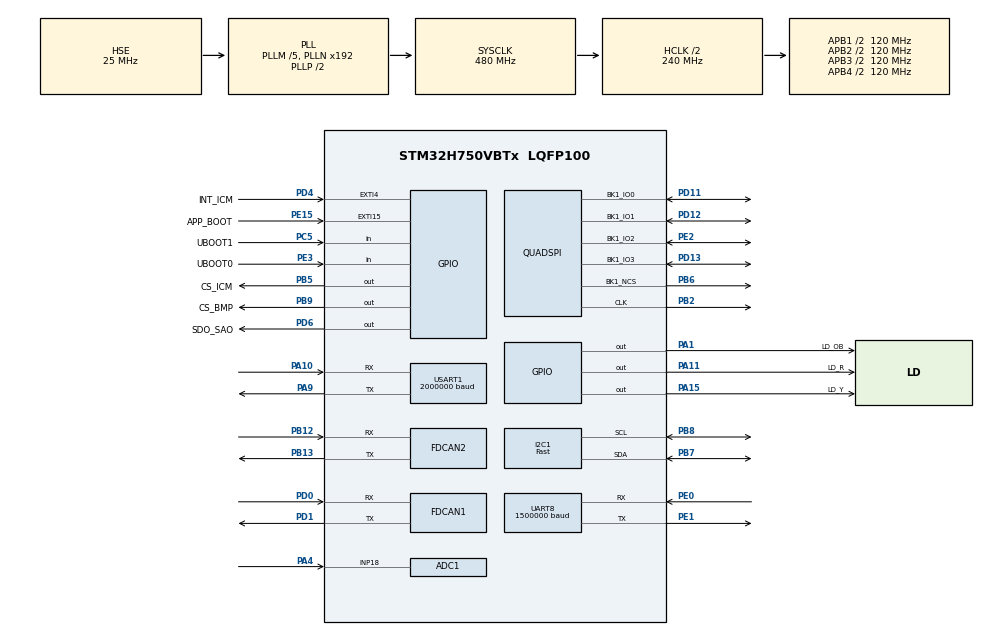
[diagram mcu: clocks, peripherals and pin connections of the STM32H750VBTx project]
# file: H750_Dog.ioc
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ADC1.Channel-1\#ChannelRegularConversion=ADC_CHANNEL_18
ADC1.ClockPrescaler=ADC_CLOCK_ASYNC_DIV4
ADC1.ConversionDataManagement=ADC_CONVERSIONDATA_DMA_ONESHOT
ADC1.EOCSelection=ADC_EOC_SEQ_CONV
ADC1.NbrOfConversionFlag=1
ADC1.OffsetNumber-1\#ChannelRegularConversion=ADC_OFFSET_NONE
ADC1.OffsetSignedSaturation-1\#ChannelRegularConversion=DISABLE
ADC1.Rank-1\#ChannelRegularConversion=1
ADC1.SamplingTime-1\#ChannelRegularConversion=ADC_SAMPLETIME_1CYCLE_5
ADC1.master=1
CORTEX_M7.AccessPermission-Cortex_Memory_Protection_Unit_Region0_Settings=MPU_REGION_FULL_ACCESS
CORTEX_M7.AccessPermission-Cortex_Memory_Protection_Unit_Region1_Settings=MPU_REGION_FULL_ACCESS
CORTEX_M7.AccessPermission-Cortex_Memory_Protection_Unit_Region2_Settings=MPU_REGION_FULL_ACCESS
CORTEX_M7.AccessPermission-Cortex_Memory_Protection_Unit_Region3_Settings=MPU_REGION_FULL_ACCESS
CORTEX_M7.AccessPermission-Cortex_Memory_Protection_Unit_Region4_Settings=MPU_REGION_PRIV_RO_URO
CORTEX_M7.BaseAddress-Cortex_Memory_Protection_Unit_Region0_Settings=0x0
CORTEX_M7.BaseAddress-Cortex_Memory_Protection_Unit_Region1_Settings=0x30000000
CORTEX_M7.BaseAddress-Cortex_Memory_Protection_Unit_Region2_Settings=0x20000000
CORTEX_M7.BaseAddress-Cortex_Memory_Protection_Unit_Region3_Settings=0x24000000
CORTEX_M7.BaseAddress-Cortex_Memory_Protection_Unit_Region4_Settings=0x90000000
CORTEX_M7.CPU_DCache=Enabled
CORTEX_M7.CPU_ICache=Enabled
CORTEX_M7.DisableExec-Cortex_Memory_Protection_Unit_Region2_Settings=MPU_INSTRUCTION_ACCESS_ENABLE
CORTEX_M7.Enable-Cortex_Memory_Protection_Unit_Region0_Settings=MPU_REGION_ENABLE
CORTEX_M7.Enable-Cortex_Memory_Protection_Unit_Region15_Settings=__NULL
CORTEX_M7.Enable-Cortex_Memory_Protection_Unit_Region1_Settings=MPU_REGION_ENABLE
CORTEX_M7.Enable-Cortex_Memory_Protection_Unit_Region2_Settings=MPU_REGION_ENABLE
CORTEX_M7.Enable-Cortex_Memory_Protection_Unit_Region3_Settings=MPU_REGION_ENABLE
CORTEX_M7.Enable-Cortex_Memory_Protection_Unit_Region4_Settings=MPU_REGION_ENABLE
CORTEX_M7.IsBufferable-Cortex_Memory_Protection_Unit_Region0_Settings=MPU_ACCESS_BUFFERABLE
CORTEX_M7.IsBufferable-Cortex_Memory_Protection_Unit_Region1_Settings=MPU_ACCESS_BUFFERABLE
CORTEX_M7.IsBufferable-Cortex_Memory_Protection_Unit_Region3_Settings=MPU_ACCESS_BUFFERABLE
CORTEX_M7.IsBufferable-Cortex_Memory_Protection_Unit_Region4_Settings=MPU_ACCESS_BUFFERABLE
CORTEX_M7.IsCacheable-Cortex_Memory_Protection_Unit_Region0_Settings=MPU_ACCESS_NOT_CACHEABLE
CORTEX_M7.IsCacheable-Cortex_Memory_Protection_Unit_Region1_Settings=MPU_ACCESS_CACHEABLE
CORTEX_M7.IsCacheable-Cortex_Memory_Protection_Unit_Region2_Settings=MPU_ACCESS_CACHEABLE
CORTEX_M7.IsCacheable-Cortex_Memory_Protection_Unit_Region3_Settings=MPU_ACCESS_CACHEABLE
CORTEX_M7.IsCacheable-Cortex_Memory_Protection_Unit_Region4_Settings=MPU_ACCESS_CACHEABLE
CORTEX_M7.IsShareable-Cortex_Memory_Protection_Unit_Region2_Settings=MPU_ACCESS_NOT_SHAREABLE
CORTEX_M7.IsShareable-Cortex_Memory_Protection_Unit_Region4_Settings=MPU_ACCESS_NOT_SHAREABLE
CORTEX_M7.MPU_Control=MPU_HFNMI_PRIVDEF_NONE
CORTEX_M7.Size-Cortex_Memory_Protection_Unit_Region0_Settings=MPU_REGION_SIZE_4GB
CORTEX_M7.Size-Cortex_Memory_Protection_Unit_Region1_Settings=MPU_REGION_SIZE_512KB
CORTEX_M7.Size-Cortex_Memory_Protection_Unit_Region2_Settings=MPU_REGION_SIZE_128KB
CORTEX_M7.Size-Cortex_Memory_Protection_Unit_Region3_Settings=MPU_REGION_SIZE_512KB
CORTEX_M7.Size-Cortex_Memory_Protection_Unit_Region4_Settings=MPU_REGION_SIZE_256MB
CORTEX_M7.TypeExtField-Cortex_Memory_Protection_Unit_Region0_Settings=MPU_TEX_LEVEL0
CORTEX_M7.TypeExtField-Cortex_Memory_Protection_Unit_Region1_Settings=MPU_TEX_LEVEL1
CORTEX_M7.TypeExtField-Cortex_Memory_Protection_Unit_Region2_Settings=MPU_TEX_LEVEL0
CORTEX_M7.TypeExtField-Cortex_Memory_Protection_Unit_Region3_Settings=MPU_TEX_LEVEL1
CORTEX_M7.TypeExtField-Cortex_Memory_Protection_Unit_Region4_Settings=MPU_TEX_LEVEL1
Dma.ADC1.3.Direction=DMA_PERIPH_TO_MEMORY
Dma.ADC1.3.EventEnable=DISABLE
Dma.ADC1.3.FIFOMode=DMA_FIFOMODE_DISABLE
Dma.ADC1.3.Instance=DMA1_Stream3
Dma.ADC1.3.MemDataAlignment=DMA_MDATAALIGN_WORD
Dma.ADC1.3.MemInc=DMA_MINC_ENABLE
Dma.ADC1.3.Mode=DMA_NORMAL
Dma.ADC1.3.PeriphDataAlignment=DMA_PDATAALIGN_WORD
Dma.ADC1.3.PeriphInc=DMA_PINC_DISABLE
Dma.ADC1.3.Polarity=HAL_DMAMUX_REQ_GEN_RISING
Dma.ADC1.3.Priority=DMA_PRIORITY_LOW
Dma.ADC1.3.RequestNumber=1
Dma.ADC1.3.SignalID=NONE
Dma.ADC1.3.SyncEnable=DISABLE
Dma.ADC1.3.SyncPolarity=HAL_DMAMUX_SYNC_NO_EVENT
Dma.ADC1.3.SyncRequestNumber=1
Dma.ADC1.3.SyncSignalID=NONE
Dma.Request0=USART1_RX
Dma.Request1=UART8_RX
Dma.Request2=UART8_TX
Dma.Request3=ADC1
Dma.UART8_RX.1.Direction=DMA_PERIPH_TO_MEMORY
Dma.UART8_RX.1.EventEnable=DISABLE
Dma.UART8_RX.1.FIFOMode=DMA_FIFOMODE_DISABLE
Dma.UART8_RX.1.Instance=DMA1_Stream1
Dma.UART8_RX.1.MemDataAlignment=DMA_MDATAALIGN_BYTE
Dma.UART8_RX.1.MemInc=DMA_MINC_ENABLE
Dma.UART8_RX.1.Mode=DMA_NORMAL
Dma.UART8_RX.1.PeriphDataAlignment=DMA_PDATAALIGN_BYTE
Dma.UART8_RX.1.PeriphInc=DMA_PINC_DISABLE
Dma.UART8_RX.1.Polarity=HAL_DMAMUX_REQ_GEN_RISING
Dma.UART8_RX.1.Priority=DMA_PRIORITY_LOW
Dma.UART8_RX.1.RequestNumber=1
Dma.UART8_RX.1.SignalID=NONE
Dma.UART8_RX.1.SyncEnable=DISABLE
Dma.UART8_RX.1.SyncPolarity=HAL_DMAMUX_SYNC_NO_EVENT
Dma.UART8_RX.1.SyncRequestNumber=1
Dma.UART8_RX.1.SyncSignalID=NONE
Dma.UART8_TX.2.Direction=DMA_MEMORY_TO_PERIPH
Dma.UART8_TX.2.EventEnable=DISABLE
Dma.UART8_TX.2.FIFOMode=DMA_FIFOMODE_DISABLE
Dma.UART8_TX.2.Instance=DMA1_Stream2
Dma.UART8_TX.2.MemDataAlignment=DMA_MDATAALIGN_BYTE
Dma.UART8_TX.2.MemInc=DMA_MINC_ENABLE
Dma.UART8_TX.2.Mode=DMA_NORMAL
Dma.UART8_TX.2.PeriphDataAlignment=DMA_PDATAALIGN_BYTE
Dma.UART8_TX.2.PeriphInc=DMA_PINC_DISABLE
Dma.UART8_TX.2.Polarity=HAL_DMAMUX_REQ_GEN_RISING
Dma.UART8_TX.2.Priority=DMA_PRIORITY_LOW
Dma.UART8_TX.2.RequestNumber=1
Dma.UART8_TX.2.SignalID=NONE
Dma.UART8_TX.2.SyncEnable=DISABLE
Dma.UART8_TX.2.SyncPolarity=HAL_DMAMUX_SYNC_NO_EVENT
Dma.UART8_TX.2.SyncRequestNumber=1
Dma.UART8_TX.2.SyncSignalID=NONE
Dma.USART1_RX.0.Direction=DMA_PERIPH_TO_MEMORY
Dma.USART1_RX.0.EventEnable=DISABLE
Dma.USART1_RX.0.FIFOMode=DMA_FIFOMODE_DISABLE
Dma.USART1_RX.0.Instance=DMA1_Stream0
Dma.USART1_RX.0.MemDataAlignment=DMA_MDATAALIGN_BYTE
Dma.USART1_RX.0.MemInc=DMA_MINC_ENABLE
Dma.USART1_RX.0.Mode=DMA_NORMAL
Dma.USART1_RX.0.PeriphDataAlignment=DMA_PDATAALIGN_BYTE
Dma.USART1_RX.0.PeriphInc=DMA_PINC_DISABLE
Dma.USART1_RX.0.Polarity=HAL_DMAMUX_REQ_GEN_RISING
Dma.USART1_RX.0.Priority=DMA_PRIORITY_LOW
Dma.USART1_RX.0.RequestNumber=1
Dma.USART1_RX.0.SignalID=NONE
Dma.USART1_RX.0.SyncEnable=DISABLE
Dma.USART1_RX.0.SyncPolarity=HAL_DMAMUX_SYNC_NO_EVENT
Dma.USART1_RX.0.SyncRequestNumber=1
Dma.USART1_RX.0.SyncSignalID=NONE
FDCAN1.AutoRetransmission=ENABLE
FDCAN1.CalculateBaudRateNominal=1000000
FDCAN1.CalculateTimeQuantumNominal=50.0
FDCAN1.DataSyncJumpWidth=3
FDCAN1.DataTimeSeg1=14
FDCAN1.DataTimeSeg2=5
FDCAN1.NominalPrescaler=1
FDCAN1.NominalSyncJumpWidth=3
FDCAN1.NominalTimeSeg1=14
FDCAN1.NominalTimeSeg2=5
FDCAN1.ProtocolException=DISABLE
FDCAN1.RxFifo0ElmtsNbr=12
FDCAN1.StdFiltersNbr=1
FDCAN1.TxFifoQueueElmtsNbr=24
FDCAN2.AutoRetransmission=ENABLE
FDCAN2.CalculateBaudRateNominal=1000000
FDCAN2.CalculateTimeQuantumNominal=50.0
FDCAN2.DataSyncJumpWidth=3
FDCAN2.DataTimeSeg1=14
FDCAN2.DataTimeSeg2=5
FDCAN2.MessageRAMOffset=1280
FDCAN2.NominalPrescaler=1
FDCAN2.NominalSyncJumpWidth=3
FDCAN2.NominalTimeSeg1=14
FDCAN2.NominalTimeSeg2=5
FDCAN2.ProtocolException=DISABLE
FDCAN2.RxFifo0ElmtsNbr=12
FDCAN2.StdFiltersNbr=1
FDCAN2.TxFifoQueueElmtsNbr=24
FREERTOS.CountingSemaphores01=sRobotTimerUp,2,Dynamic,NULL
FREERTOS.INCLUDE_eTaskGetState=1
FREERTOS.INCLUDE_pcTaskGetTaskName=1
FREERTOS.INCLUDE_uxTaskGetStackHighWaterMark=1
FREERTOS.INCLUDE_vTaskDelayUntil=1
FREERTOS.INCLUDE_xQueueGetMutexHolder=0
FREERTOS.INCLUDE_xTaskAbortDelay=1
FREERTOS.INCLUDE_xTaskGetCurrentTaskHandle=1
FREERTOS.INCLUDE_xTaskGetHandle=1
FREERTOS.Queues01=qSerialCMD,4,uint32_t,0,Dynamic,NULL,NULL;qRobotTimerUp,2,uint32_t,0,Dynamic,NULL,NULL;qSerialLogTime,2,uint16_t,0,Dynamic,NULL,NULL
FREERTOS.Tasks01=robotOutTask,0,512,RobotOutTask,As weak,NULL,Static,robotOutTaskBuffer,robotOutTaskControlBlock;serialCmdTask,-2,512,SerialCmdTask,As weak,NULL,Static,serialCmdTaskBuffer,serialCmdTaskControlBlock;serialLogoutTas,-3,512,SerialLogoutTask,As weak,NULL,Static,serialLogoutTasBuffer,serialLogoutTasControlBlock
FREERTOS.configCHECK_FOR_STACK_OVERFLOW=2
FREERTOS.configENABLE_FPU=1
FREERTOS.configGENERATE_RUN_TIME_STATS=0
FREERTOS.configMINIMAL_STACK_SIZE=512
FREERTOS.configTOTAL_HEAP_SIZE=16384
FREERTOS.configUSE_COUNTING_SEMAPHORES=1
FREERTOS.configUSE_MALLOC_FAILED_HOOK=1
FREERTOS.configUSE_STATS_FORMATTING_FUNCTIONS=1
FREERTOS.configUSE_TRACE_FACILITY=1
I2C1.Analog_Filter=I2C_ANALOGFILTER_ENABLE
I2C1.CustomTiming=Disabled
I2C1.DualAddressMode=I2C_DUALADDRESS_DISABLE
I2C1.GeneralCallMode=I2C_GENERALCALL_DISABLE
I2C1.I2C_Speed_Mode=I2C_Fast
I2C1.Timing=0x00000004
Mcu.Family=STM32H7
Mcu.Name=STM32H750VBTx
Mcu.Package=LQFP100
NVIC.DMA1_Stream0_IRQn=true\:5\:0\:true\:false\:true\:true\:false\:true\:true
NVIC.DMA1_Stream1_IRQn=true\:5\:0\:true\:false\:true\:true\:false\:true\:true
NVIC.DMA1_Stream2_IRQn=true\:5\:0\:false\:false\:true\:true\:false\:true\:true
NVIC.DMA1_Stream3_IRQn=true\:5\:0\:false\:false\:true\:true\:false\:true\:true
NVIC.EXTI15_10_IRQn=true\:5\:0\:false\:false\:true\:true\:true\:true\:true
NVIC.EXTI4_IRQn=true\:5\:0\:true\:false\:true\:true\:true\:true\:true
NVIC.FDCAN1_IT0_IRQn=true\:5\:0\:true\:false\:true\:true\:true\:true\:true
NVIC.FDCAN1_IT1_IRQn=true\:5\:0\:true\:false\:true\:true\:true\:true\:true
NVIC.FDCAN2_IT0_IRQn=true\:5\:0\:true\:false\:true\:true\:true\:true\:true
NVIC.FDCAN2_IT1_IRQn=true\:5\:0\:true\:false\:true\:true\:true\:true\:true
NVIC.FDCAN_CAL_IRQn=true\:5\:0\:false\:false\:true\:true\:true\:true\:true
NVIC.I2C1_ER_IRQn=true\:5\:0\:false\:false\:true\:true\:true\:true\:true
NVIC.I2C1_EV_IRQn=true\:5\:0\:false\:false\:true\:true\:true\:true\:true
NVIC.PriorityGroup=NVIC_PRIORITYGROUP_4
NVIC.TIM17_IRQn=true\:15\:0\:false\:false\:true\:false\:false\:true\:true
NVIC.TIM6_DAC_IRQn=true\:5\:0\:true\:false\:true\:true\:true\:true\:true
NVIC.TimeBase=TIM17_IRQn
NVIC.TimeBaseIP=TIM17
NVIC.UART8_IRQn=true\:5\:0\:true\:false\:true\:true\:true\:true\:true
NVIC.USART1_IRQn=true\:5\:0\:true\:false\:true\:true\:true\:true\:true
PA1.GPIO_Label=LD_OB
PA1.PinState=GPIO_PIN_RESET
PA1.Signal=GPIO_Output
PA10.Mode=Asynchronous
PA10.Signal=USART1_RX
PA11.GPIO_Label=LD_R
PA11.GPIO_ModeDefaultOutputPP=GPIO_MODE_OUTPUT_PP
PA11.GPIO_PuPd=GPIO_NOPULL
PA11.GPIO_Speed=GPIO_SPEED_FREQ_VERY_HIGH
PA11.PinState=GPIO_PIN_RESET
PA11.Signal=GPIO_Output
PA13\ (JTMS/SWDIO).Mode=Serial_Wire
PA13\ (JTMS/SWDIO).Signal=DEBUG_JTMS-SWDIO
PA14\ (JTCK/SWCLK).Mode=Serial_Wire
PA14\ (JTCK/SWCLK).Signal=DEBUG_JTCK-SWCLK
PA15\ (JTDI).GPIO_Label=LD_Y
PA15\ (JTDI).GPIO_ModeDefaultOutputPP=GPIO_MODE_OUTPUT_PP
PA15\ (JTDI).GPIO_PuPd=GPIO_NOPULL
PA15\ (JTDI).GPIO_Speed=GPIO_SPEED_FREQ_VERY_HIGH
PA15\ (JTDI).PinState=GPIO_PIN_RESET
PA15\ (JTDI).Signal=GPIO_Output
PA4.Signal=ADCx_INP18
PA9.Mode=Asynchronous
PA9.Signal=USART1_TX
PB12.GPIO_Mode=GPIO_MODE_AF_PP
PB12.GPIO_PuPd=GPIO_NOPULL
PB12.GPIO_Speed=GPIO_SPEED_FREQ_VERY_HIGH
PB12.Mode=FDCAN_Activate
PB12.Signal=FDCAN2_RX
PB13.GPIO_Mode=GPIO_MODE_AF_PP
PB13.GPIO_PuPd=GPIO_NOPULL
PB13.GPIO_Speed=GPIO_SPEED_FREQ_VERY_HIGH
PB13.Mode=FDCAN_Activate
PB13.Signal=FDCAN2_TX
PB2.GPIO_Mode=GPIO_MODE_AF_PP
PB2.GPIO_PuPd=GPIO_PULLUP
PB2.GPIO_Speed=GPIO_SPEED_FREQ_VERY_HIGH
PB2.Mode=Single Bank 1
PB2.Signal=QUADSPI_CLK
PB5.GPIO_Label=CS_ICM
PB5.GPIO_PuPd=GPIO_NOPULL
PB5.GPIO_Speed=GPIO_SPEED_FREQ_VERY_HIGH
PB5.PinState=GPIO_PIN_SET
PB5.Signal=GPIO_Output
PB6.GPIO_Mode=GPIO_MODE_AF_PP
PB6.GPIO_PuPd=GPIO_PULLUP
PB6.GPIO_Speed=GPIO_SPEED_FREQ_VERY_HIGH
PB6.Mode=Single Bank 1
PB6.Signal=QUADSPI_BK1_NCS
PB7.GPIO_Mode=GPIO_MODE_AF_OD
PB7.GPIO_Pu=GPIO_NOPULL
PB7.GPIO_Speed=GPIO_SPEED_FREQ_VERY_HIGH
PB7.Mode=I2C
PB7.Signal=I2C1_SDA
PB8.GPIO_Mode=GPIO_MODE_AF_OD
PB8.GPIO_Pu=GPIO_NOPULL
PB8.GPIO_Speed=GPIO_SPEED_FREQ_VERY_HIGH
PB8.Mode=I2C
PB8.Signal=I2C1_SCL
PB9.GPIO_Label=CS_BMP
PB9.GPIO_Speed=GPIO_SPEED_FREQ_VERY_HIGH
PB9.PinState=GPIO_PIN_SET
PB9.Signal=GPIO_Output
PC5.GPIO_Label=UBOOT1
PC5.GPIO_Mode=GPIO_MODE_INPUT
PC5.GPIO_PuPd=GPIO_PULLUP
PC5.Signal=GPIO_Input
PD0.GPIO_Mode=GPIO_MODE_AF_PP
PD0.GPIO_PuPd=GPIO_NOPULL
PD0.GPIO_Speed=GPIO_SPEED_FREQ_VERY_HIGH
PD0.Mode=FDCAN_Activate
PD0.Signal=FDCAN1_RX
PD1.GPIO_Mode=GPIO_MODE_AF_PP
PD1.GPIO_PuPd=GPIO_NOPULL
PD1.GPIO_Speed=GPIO_SPEED_FREQ_VERY_HIGH
PD1.Mode=FDCAN_Activate
PD1.Signal=FDCAN1_TX
PD11.GPIO_Mode=GPIO_MODE_AF_PP
PD11.GPIO_PuPd=GPIO_PULLUP
PD11.GPIO_Speed=GPIO_SPEED_FREQ_VERY_HIGH
PD11.Mode=Single Bank 1
PD11.Signal=QUADSPI_BK1_IO0
PD12.GPIO_Mode=GPIO_MODE_AF_PP
PD12.GPIO_PuPd=GPIO_PULLUP
PD12.GPIO_Speed=GPIO_SPEED_FREQ_VERY_HIGH
PD12.Mode=Single Bank 1
PD12.Signal=QUADSPI_BK1_IO1
PD13.GPIO_Mode=GPIO_MODE_AF_PP
PD13.GPIO_PuPd=GPIO_PULLUP
PD13.GPIO_Speed=GPIO_SPEED_FREQ_VERY_HIGH
PD13.Mode=Single Bank 1
PD13.Signal=QUADSPI_BK1_IO3
PD4.GPIO_Label=INT_ICM
PD4.Signal=GPXTI4
PD6.GPIO_Label=SDO_SAO
PD6.GPIO_Speed=GPIO_SPEED_FREQ_VERY_HIGH
PD6.PinState=GPIO_PIN_RESET
PD6.Signal=GPIO_Output
PE0.Mode=Asynchronous
PE0.Signal=UART8_RX
PE1.Mode=Asynchronous
PE1.Signal=UART8_TX
PE15.GPIO_Label=APP_BOOT
PE15.GPIO_PuPd=GPIO_PULLDOWN
PE15.Signal=GPXTI15
PE2.GPIO_Mode=GPIO_MODE_AF_PP
PE2.GPIO_PuPd=GPIO_PULLUP
PE2.GPIO_Speed=GPIO_SPEED_FREQ_VERY_HIGH
PE2.Mode=Single Bank 1
PE2.Signal=QUADSPI_BK1_IO2
PE3.GPIO_Label=UBOOT0
PE3.GPIO_Mode=GPIO_MODE_INPUT
PE3.GPIO_PuPd=GPIO_PULLUP
PE3.Signal=GPIO_Input
PH0-OSC_IN\ (PH0).Mode=HSE-External-Oscillator
PH0-OSC_IN\ (PH0).Signal=RCC_OSC_IN
PH1-OSC_OUT\ (PH1).Mode=HSE-External-Oscillator
PH1-OSC_OUT\ (PH1).Signal=RCC_OSC_OUT
ProjectManager.HeapSize=0x10000
ProjectManager.StackSize=0x4000
ProjectManager.TargetToolchain=Makefile
QUADSPI.ChipSelectHighTime=QSPI_CS_HIGH_TIME_6_CYCLE
QUADSPI.ClockMode=QSPI_CLOCK_MODE_0
QUADSPI.ClockPrescaler=2-1
QUADSPI.FifoThreshold=4
QUADSPI.FlashSize=23-1
QUADSPI.SampleShifting=QSPI_SAMPLE_SHIFTING_HALFCYCLE
RCC.ADCFreq_Value=20000000
RCC.APB1Freq_Value=120000000
RCC.APB2Freq_Value=120000000
RCC.APB3Freq_Value=120000000
RCC.APB4Freq_Value=120000000
RCC.CortexFreq_Value=480000000
RCC.D1PPRE=RCC_APB3_DIV2
RCC.D2PPRE1=RCC_APB1_DIV2
RCC.D2PPRE2=RCC_APB2_DIV2
RCC.D3PPRE=RCC_APB4_DIV2
RCC.DIVM1=5
RCC.DIVM2=25
RCC.DIVN1=192
RCC.DIVN2=160
RCC.DIVP2=8
RCC.DIVQ1=48
RCC.HCLKFreq_Value=240000000
RCC.HPRE=RCC_HCLK_DIV2
RCC.I2C123CLockSelection=RCC_I2C123CLKSOURCE_CSI
RCC.PLL2FRACN=0
RCC.PLL3FRACN=0
RCC.PLLFRACN=0
RCC.PLLSourceVirtual=RCC_PLLSOURCE_HSE
RCC.PWR_Regulator_Voltage_Scale=PWR_REGULATOR_VOLTAGE_SCALE0
RCC.SYSCLKFreq_VALUE=480000000
RCC.SYSCLKSource=RCC_SYSCLKSOURCE_PLLCLK
RCC.USBFreq_Value=20000000
SH.ADCx_INP18.0=ADC1_INP18,IN18-Single-Ended
TIM6.Period=2000-1
TIM6.Prescaler=240-1
TIM6.TIM_MasterOutputTrigger=TIM_TRGO_RESET
TIM7.Period=1000-1
TIM7.Prescaler=240-1
UART8.BaudRate=1500000
USART1.BaudRate=2000000
USART1.DMADisableonRxErrorParam=ADVFEATURE_DMA_ENABLEONRXERROR
USART1.OverrunDisableParam=ADVFEATURE_OVERRUN_ENABLE
USART1.VirtualMode-Asynchronous=VM_ASYNC
VP_FREERTOS_VS_CMSIS_V1.Mode=CMSIS_V1
VP_SYS_VS_tim17.Mode=TIM17
VP_TIM6_VS_ClockSourceINT.Mode=Enable_Timer
VP_TIM7_VS_ClockSourceINT.Mode=Enable_Timer
board=custom

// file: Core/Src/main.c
/* USER CODE BEGIN Header */
/**
 ******************************************************************************
 * @file           : main.c
 * @brief          : Main program body
 ******************************************************************************
 * @attention
 *
 * Copyright (c) 2022 STMicroelectronics.
 * All rights reserved.
 *
 * This software is licensed under terms that can be found in the LICENSE file
 * in the root directory of this software component.
 * If no LICENSE file comes with this software, it is provided AS-IS.
 *
 ******************************************************************************
 */
/* USER CODE END Header */
#include "main.h"
#include "cmsis_os.h"
#include "adc.h"
#include "dma.h"
#include "fdcan.h"
#include "i2c.h"
#include "tim.h"
#include "usart.h"
#include "gpio.h"

/* USER CODE BEGIN Includes */
#include "w25q.h"
#include "DogSoft.h"
#include "Application/DogApp.h"
#include <string.h>

#include <stdio.h>
#include <stdarg.h>
#include <math.h>
#include "arm_math.h"

#include "imu.h"
/* USER CODE END Includes */

/* USER CODE BEGIN PD */

#define USE_TIMER_GEN_STEP

/* USER CODE END PD */

/* USER CODE BEGIN PV */
typedef struct _boot_info_t
{
  uint32_t BootArgs;
  uint8_t head[4];
}boot_info_t;

boot_info_t bootConf __attribute__((section(".bootcfg")));

void HAL_IncTick(void)
{
  htim7.Instance->CNT = 0;
  uwTick += (uint32_t)uwTickFreq;
}

/* USER CODE END PV */

void SystemClock_Config(void);
static void MPU_Config(void);
void MX_FREERTOS_Init(void);
/* USER CODE BEGIN PFP */
extern arm_pid_instance_f32 pid_yaw;
// static float target_angle;
extern volatile uint8_t tim_queue_enable;
extern volatile dog_app_choices app;

#ifdef USE_TIMER_GEN_STEP
extern osMessageQId qRobotTimerUpHandle;
void robot_loop(TIM_HandleTypeDef * htim){
    char descript[1] = "n";
    if (tim_queue_enable){
      // ST_LOGD("T");
      xQueueSendFromISR(qRobotTimerUpHandle, descript, NULL);
    }
}
#endif

void RobotOutTask(void const * argument)
{
  /* USER CODE BEGIN RobotOutTask */
  // float next_yaw_err = 0.f;
  // uint32_t tick;
  char * ptr;
  uint32_t cnt = 0;

  // tick = HAL_GetTick();
  arm_pid_init_f32(&pid_yaw, 1);

  ST_LOGI("Starting motor ...");

  dog_motor_init();

  // stand up
  osDelay(2000);
  ST_LOGI("Stand up");
  dog_body_standup(-1.f, -1.f);
  osDelay(400);

  dog_body_standup(38.f, 0.7f);
  osDelay(400);

  dog_body_standup(45.3f, 0.9f);
  osDelay(400);
  ST_LOGI("Stand up-ed");

  // while (HAL_GetTick() - tick < 30000){
  //   ST_LOGD("Wait for IMU stable: %.1f", 30 - (HAL_GetTick() - tick)/1000.f);
  //   osDelay(500);
  // }

  // target_yaw = yaw;
  // osDelay(2000);
  // target_yaw = yaw;
#ifdef USE_TIMER_GEN_STEP
  HAL_TIM_RegisterCallback(&htim6, HAL_TIM_PERIOD_ELAPSED_CB_ID, robot_loop);
  HAL_TIM_Base_Start_IT(&htim6);
  htim6.Instance->ARR = DOG_CTRL_PERIOD_ms * 1000 - 1 ; // us
#else
  uint32_t prev_Time;
#endif
  step_param_update(-1,-1,-1,-1);
  /* Infinite loop */
  for(;;)
  {
#ifdef USE_TIMER_GEN_STEP
    if (xQueueReceive(qRobotTimerUpHandle, &ptr, portMAX_DELAY))
#else
    // osDelayUntil(&prev_Time, DOG_CTRL_PERIOD_ms);
    osDelay(DOG_CTRL_PERIOD_ms);
    if (tim_queue_enable == 0){
      continue;
    }
#endif
    {
      // ST_LOGI("TU");
      // dogapp_walk(); // TODO : check direction here
      switch (app)
      {
      case APP_WALK:
        dogapp_simpleWalk();
        break;

      case APP_WALK_TEST:
        dogapp_simpleWalk_fortest();
        break;

      case APP_JUMP:
        dogapp_jumper();
        break;

      case APP_JUMP_BIG:
        dogapp_jumper();
        break;

      case APP_UPSTARIS:
        dogapp_upstaris();
        break;

      default:
        break;
      }

      cnt++;
      if (cnt >= 500){
        HAL_GPIO_TogglePin(LD_R_GPIO_Port, LD_R_Pin);

        cnt = 0;
      }
    }
  }
  /* USER CODE END RobotOutTask */
}

// static char esp_echo_buff;
// void esp_echo(UART_HandleTypeDef * huart){
//   HAL_UART_Transmit_IT(huart, &esp_echo_buff, 1);
//   HAL_UART_Receive_IT(huart, &esp_echo_buff, 1);
// }

uint32_t __attribute__ ((section(".dma_data"))) adc_buf[256];
/* USER CODE END PFP */

/* USER CODE BEGIN 0 */
float target_yaw = 0.f;
// static const void (*qspi_program)(void) = (void (*)())(uint32_t *)(QSPI_BASE + 4);
/* USER CODE END 0 */

int main(void)
{

  /* MPU Configuration--------------------------------------------------------*/
  MPU_Config();

  /* Enable I-Cache---------------------------------------------------------*/
  SCB_EnableICache();

  /* Enable D-Cache---------------------------------------------------------*/
  SCB_EnableDCache();

  /* MCU Configuration--------------------------------------------------------*/

  /* Reset of all peripherals, Initializes the Flash interface and the Systick. */
  HAL_Init();

  /* Configure the system clock */
  SystemClock_Config();

  /* USER CODE BEGIN SysInit */
  HAL_DBGMCU_EnableDBGSleepMode();
  HAL_DBGMCU_EnableDBGStandbyMode();
  HAL_DBGMCU_EnableDBGStopMode();
  // MX_DMA_Init();
  /* USER CODE END SysInit */

  /* Initialize all configured peripherals */
  MX_GPIO_Init();
  MX_FDCAN1_Init();
  MX_FDCAN2_Init();
  MX_DMA_Init();
  MX_TIM7_Init();
  MX_UART8_Init();
  MX_USART1_UART_Init();
  MX_I2C1_Init();
  MX_TIM6_Init();
  MX_ADC1_Init();
  /* USER CODE BEGIN 2 */
  fdcanfilter();
  HAL_TIM_Base_Start(&htim7);

  ST_LOGI("Starting imu ...");
  imu_start();

  ST_LOGI("System Start. Starting OS...");
  HAL_ADCEx_Calibration_Start(&hadc1, ADC_CALIB_OFFSET_LINEARITY, ADC_SINGLE_ENDED);
  HAL_ADC_Start(&hadc1);
  HAL_ADC_PollForConversion(&hadc1, HAL_MAX_DELAY);
  uint32_t v = HAL_ADC_GetValue(&hadc1);
  HAL_ADC_Stop(&hadc1);
  ST_LOGI("voltage:%.2f V (%d)", v * 3.3 * 13 / 65536.f, v);

  /* USER CODE END 2 */

  /* Call init function for freertos objects (in freertos.c) */
  MX_FREERTOS_Init();
  /* Start scheduler */
  osKernelStart();

  /* We should never get here as control is now taken by the scheduler */
  /* Infinite loop */
  /* USER CODE BEGIN WHILE */
  while (1)
  {
    // uart_printf("t5:%.3f,t6:%.3f\n", motors.raw[4].t, motors.raw[5].t);
    // __WFI();
    // uart_printf("yaw:%.3f\n", yaw);
    // HAL_Delay(20);

    /* USER CODE END WHILE */

  }
}

void SystemClock_Config(void)
{
  RCC_OscInitTypeDef RCC_OscInitStruct = {0};
  RCC_ClkInitTypeDef RCC_ClkInitStruct = {0};

  /** Supply configuration update enable
  */
  HAL_PWREx_ConfigSupply(PWR_LDO_SUPPLY);
  /** Configure the main internal regulator output voltage
  */
  __HAL_PWR_VOLTAGESCALING_CONFIG(PWR_REGULATOR_VOLTAGE_SCALE0);

  while(!__HAL_PWR_GET_FLAG(PWR_FLAG_VOSRDY)) {}
  /** Macro to configure the PLL clock source
  */
  __HAL_RCC_PLL_PLLSOURCE_CONFIG(RCC_PLLSOURCE_HSE);
  /** Initializes the RCC Oscillators according to the specified parameters
  * in the RCC_OscInitTypeDef structure.
  */
  RCC_OscInitStruct.OscillatorType = RCC_OSCILLATORTYPE_CSI|RCC_OSCILLATORTYPE_HSE;
  RCC_OscInitStruct.HSEState = RCC_HSE_ON;
  RCC_OscInitStruct.CSIState = RCC_CSI_ON;
  RCC_OscInitStruct.CSICalibrationValue = RCC_CSICALIBRATION_DEFAULT;
  RCC_OscInitStruct.PLL.PLLState = RCC_PLL_ON;
  RCC_OscInitStruct.PLL.PLLSource = RCC_PLLSOURCE_HSE;
  RCC_OscInitStruct.PLL.PLLM = 5;
  RCC_OscInitStruct.PLL.PLLN = 192;
  RCC_OscInitStruct.PLL.PLLP = 2;
  RCC_OscInitStruct.PLL.PLLQ = 48;
  RCC_OscInitStruct.PLL.PLLR = 2;
  RCC_OscInitStruct.PLL.PLLRGE = RCC_PLL1VCIRANGE_2;
  RCC_OscInitStruct.PLL.PLLVCOSEL = RCC_PLL1VCOWIDE;
  RCC_OscInitStruct.PLL.PLLFRACN = 0;
  if (HAL_RCC_OscConfig(&RCC_OscInitStruct) != HAL_OK)
  {
    Error_Handler();
  }
  /** Initializes the CPU, AHB and APB buses clocks
  */
  RCC_ClkInitStruct.ClockType = RCC_CLOCKTYPE_HCLK|RCC_CLOCKTYPE_SYSCLK
                              |RCC_CLOCKTYPE_PCLK1|RCC_CLOCKTYPE_PCLK2
                              |RCC_CLOCKTYPE_D3PCLK1|RCC_CLOCKTYPE_D1PCLK1;
  RCC_ClkInitStruct.SYSCLKSource = RCC_SYSCLKSOURCE_PLLCLK;
  RCC_ClkInitStruct.SYSCLKDivider = RCC_SYSCLK_DIV1;
  RCC_ClkInitStruct.AHBCLKDivider = RCC_HCLK_DIV2;
  RCC_ClkInitStruct.APB3CLKDivider = RCC_APB3_DIV2;
  RCC_ClkInitStruct.APB1CLKDivider = RCC_APB1_DIV2;
  RCC_ClkInitStruct.APB2CLKDivider = RCC_APB2_DIV2;
  RCC_ClkInitStruct.APB4CLKDivider = RCC_APB4_DIV2;

  if (HAL_RCC_ClockConfig(&RCC_ClkInitStruct, FLASH_LATENCY_4) != HAL_OK)
  {
    Error_Handler();
  }
}

/* USER CODE BEGIN 4 */
void errorHandler(char *file, uint32_t line)
{
  if (HAL_TIM_Base_GetState(&htim6) == HAL_TIM_STATE_BUSY){
    HAL_TIM_Base_Stop_IT(&htim6); // stop robot loop
    dog_body_force_stop();
  }
  uart_printf("[%s:%ld]: error handler\n", file, line);
  // while (HAL_FDCAN_GetTxFifoFreeLevel(&hfdcan1) != hfdcan1.Init.TxFifoQueueElmtsNbr);
  // while (HAL_FDCAN_GetTxFifoFreeLevel(&hfdcan2) != hfdcan2.Init.TxFifoQueueElmtsNbr);
  ST_LOGD("[Error_Handler] system halt; restart need");
  // __disable_irq();
  while (1)
  {
    HAL_GPIO_TogglePin(LD_OB_GPIO_Port, LD_OB_Pin);
    HAL_Delay(300);
  }
}
/* USER CODE END 4 */

/* MPU Configuration */

void MPU_Config(void)
{
  MPU_Region_InitTypeDef MPU_InitStruct = {0};

  /* Disables the MPU */
  HAL_MPU_Disable();
  /** Initializes and configures the Region and the memory to be protected
  */
  MPU_InitStruct.Enable = MPU_REGION_ENABLE;
  MPU_InitStruct.Number = MPU_REGION_NUMBER0;
  MPU_InitStruct.BaseAddress = 0x0;
  MPU_InitStruct.Size = MPU_REGION_SIZE_4GB;
  MPU_InitStruct.SubRegionDisable = 0x0;
  MPU_InitStruct.TypeExtField = MPU_TEX_LEVEL0;
  MPU_InitStruct.AccessPermission = MPU_REGION_FULL_ACCESS;
  MPU_InitStruct.DisableExec = MPU_INSTRUCTION_ACCESS_ENABLE;
  MPU_InitStruct.IsShareable = MPU_ACCESS_NOT_SHAREABLE;
  MPU_InitStruct.IsCacheable = MPU_ACCESS_NOT_CACHEABLE;
  MPU_InitStruct.IsBufferable = MPU_ACCESS_BUFFERABLE;

  HAL_MPU_ConfigRegion(&MPU_InitStruct);
  /** Initializes and configures the Region and the memory to be protected
  */
  MPU_InitStruct.Number = MPU_REGION_NUMBER1;
  MPU_InitStruct.BaseAddress = 0x30000000;
  MPU_InitStruct.Size = MPU_REGION_SIZE_512KB;
  MPU_InitStruct.TypeExtField = MPU_TEX_LEVEL1;
  MPU_InitStruct.IsCacheable = MPU_ACCESS_CACHEABLE;

  HAL_MPU_ConfigRegion(&MPU_InitStruct);
  /** Initializes and configures the Region and the memory to be protected
  */
  MPU_InitStruct.Number = MPU_REGION_NUMBER2;
  MPU_InitStruct.BaseAddress = 0x20000000;
  MPU_InitStruct.Size = MPU_REGION_SIZE_128KB;
  MPU_InitStruct.TypeExtField = MPU_TEX_LEVEL0;
  MPU_InitStruct.IsBufferable = MPU_ACCESS_NOT_BUFFERABLE;

  HAL_MPU_ConfigRegion(&MPU_InitStruct);
  /** Initializes and configures the Region and the memory to be protected
  */
  MPU_InitStruct.Number = MPU_REGION_NUMBER3;
  MPU_InitStruct.BaseAddress = 0x24000000;
  MPU_InitStruct.Size = MPU_REGION_SIZE_512KB;
  MPU_InitStruct.TypeExtField = MPU_TEX_LEVEL1;
  MPU_InitStruct.IsBufferable = MPU_ACCESS_BUFFERABLE;

  HAL_MPU_ConfigRegion(&MPU_InitStruct);
  /** Initializes and configures the Region and the memory to be protected
  */
  MPU_InitStruct.Number = MPU_REGION_NUMBER4;
  MPU_InitStruct.BaseAddress = 0x90000000;
  MPU_InitStruct.Size = MPU_REGION_SIZE_256MB;
  MPU_InitStruct.AccessPermission = MPU_REGION_PRIV_RO_URO;

  HAL_MPU_ConfigRegion(&MPU_InitStruct);
  /* Enables the MPU */
  HAL_MPU_Enable(MPU_HFNMI_PRIVDEF_NONE);

}

void HAL_TIM_PeriodElapsedCallback(TIM_HandleTypeDef *htim)
{
  if (htim->Instance == TIM17) {
    HAL_IncTick();
  }
}

extern void JumpToBootLoader(void);
void Error_Handler(void)
{
  /* USER CODE BEGIN Error_Handler_Debug */
  if (HAL_TIM_Base_GetState(&htim6) == HAL_TIM_STATE_BUSY){
    HAL_TIM_Base_Stop_IT(&htim6); // stop robot loop
    dog_body_force_stop();
  }
  // uart_printf("[%s:%ld]: error handler\n", file, line);
  // while (HAL_FDCAN_GetTxFifoFreeLevel(&hfdcan1) != hfdcan1.Init.TxFifoQueueElmtsNbr);
  // while (HAL_FDCAN_GetTxFifoFreeLevel(&hfdcan2) != hfdcan2.Init.TxFifoQueueElmtsNbr);
  ST_LOGD("[Error_Handler] system halt; restart need");
  JumpToBootLoader();

  // __disable_irq();
  while (1)
  {
    HAL_GPIO_TogglePin(LD_OB_GPIO_Port, LD_OB_Pin);
    HAL_Delay(300);
  }
  /* USER CODE END Error_Handler_Debug */
}

#ifdef  USE_FULL_ASSERT
/**
  * @brief  Reports the name of the source file and the source line number
  *         where the assert_param error has occurred.
  * @param  file: pointer to the source file name
  * @param  line: assert_param error line source number
  * @retval None
  */
void assert_failed(uint8_t *file, uint32_t line)
{
  /* USER CODE BEGIN 6 */
  uart_printf("[%s:%ld]:\t<\033[0;31mmassert fail\033[0m]>\n", file, line);
  Error_Handler();
  /* USER CODE END 6 */
}
#endif /* USE_FULL_ASSERT */

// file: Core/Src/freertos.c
/* USER CODE BEGIN Header */
/**
  ******************************************************************************
  * File Name          : freertos.c
  * Description        : Code for freertos applications
  ******************************************************************************
  * @attention
  *
  * Copyright (c) 2022 STMicroelectronics.
  * All rights reserved.
  *
  * This software is licensed under terms that can be found in the LICENSE file
  * in the root directory of this software component.
  * If no LICENSE file comes with this software, it is provided AS-IS.
  *
  ******************************************************************************
  */
/* USER CODE END Header */

#include "FreeRTOS.h"
#include "task.h"
#include "main.h"
#include "cmsis_os.h"

osThreadId robotOutTaskHandle;
uint32_t robotOutTaskBuffer[ 1024 ];
osStaticThreadDef_t robotOutTaskControlBlock;
osThreadId serialCmdTaskHandle;
uint32_t serialCmdTaskBuffer[ 512 ];
osStaticThreadDef_t serialCmdTaskControlBlock;
osThreadId serialLogoutTasHandle;
uint32_t serialLogoutTasBuffer[ 512 ];
osStaticThreadDef_t serialLogoutTasControlBlock;
osMessageQId qSerialCMDHandle;
osMessageQId qRobotTimerUpHandle;
osMessageQId qSerialLogTimeHandle;
osSemaphoreId sRobotTimerUpHandle;

/* USER CODE BEGIN FunctionPrototypes */
// StackType_t __attribute__ ((section(".axi_data"))) robotOutTaskBuffer[ 4096 ];
// StackType_t __attribute__ ((section(".axi_data"))) serialCmdTaskBuffer[ 4096 ];
// StackType_t robotOutTaskBuffer[ 2048 ];
// StackType_t serialCmdTaskBuffer[ 2048 ];
/* USER CODE END FunctionPrototypes */

void RobotOutTask(void const * argument);
void SerialCmdTask(void const * argument);
void SerialLogoutTask(void const * argument);

void MX_FREERTOS_Init(void); /* (MISRA C 2004 rule 8.1) */

/* GetIdleTaskMemory prototype (linked to static allocation support) */
void vApplicationGetIdleTaskMemory( StaticTask_t **ppxIdleTaskTCBBuffer, StackType_t **ppxIdleTaskStackBuffer, uint32_t *pulIdleTaskStackSize );

/* Hook prototypes */
void vApplicationStackOverflowHook(xTaskHandle xTask, signed char *pcTaskName);
void vApplicationMallocFailedHook(void);

/* USER CODE BEGIN 4 */
__weak void vApplicationStackOverflowHook(xTaskHandle xTask, signed char *pcTaskName)
{
   /* Run time stack overflow checking is performed if
   configCHECK_FOR_STACK_OVERFLOW is defined to 1 or 2. This hook function is
   called if a stack overflow is detected. */
   ST_LOGE("freeRTOS Stack Overflow");
}
/* USER CODE END 4 */

/* USER CODE BEGIN 5 */
__weak void vApplicationMallocFailedHook(void)
{
   /* vApplicationMallocFailedHook() will only be called if
   configUSE_MALLOC_FAILED_HOOK is set to 1 in FreeRTOSConfig.h. It is a hook
   function that will get called if a call to pvPortMalloc() fails.
   pvPortMalloc() is called internally by the kernel whenever a task, queue,
   timer or semaphore is created. It is also called by various parts of the
   demo application. If heap_1.c or heap_2.c are used, then the size of the
   heap available to pvPortMalloc() is defined by configTOTAL_HEAP_SIZE in
   FreeRTOSConfig.h, and the xPortGetFreeHeapSize() API function can be used
   to query the size of free heap space that remains (although it does not
   provide information on how the remaining heap might be fragmented). */
   ST_LOGE("freeRTOS malloc Fail");
}
/* USER CODE END 5 */

/* USER CODE BEGIN GET_IDLE_TASK_MEMORY */
static StaticTask_t xIdleTaskTCBBuffer;
static StackType_t xIdleStack[configMINIMAL_STACK_SIZE];

void vApplicationGetIdleTaskMemory( StaticTask_t **ppxIdleTaskTCBBuffer, StackType_t **ppxIdleTaskStackBuffer, uint32_t *pulIdleTaskStackSize )
{
  *ppxIdleTaskTCBBuffer = &xIdleTaskTCBBuffer;
  *ppxIdleTaskStackBuffer = &xIdleStack[0];
  *pulIdleTaskStackSize = configMINIMAL_STACK_SIZE;
  /* place for user code */
}
/* USER CODE END GET_IDLE_TASK_MEMORY */

void MX_FREERTOS_Init(void) {

  /* Create the semaphores(s) */
  /* definition and creation of sRobotTimerUp */
  osSemaphoreDef(sRobotTimerUp);
  sRobotTimerUpHandle = osSemaphoreCreate(osSemaphore(sRobotTimerUp), 2);

  /* Create the queue(s) */
  /* definition and creation of qSerialCMD */
  osMessageQDef(qSerialCMD, 4, uint32_t);
  qSerialCMDHandle = osMessageCreate(osMessageQ(qSerialCMD), NULL);

  /* definition and creation of qRobotTimerUp */
  osMessageQDef(qRobotTimerUp, 2, uint32_t);
  qRobotTimerUpHandle = osMessageCreate(osMessageQ(qRobotTimerUp), NULL);

  /* definition and creation of qSerialLogTime */
  osMessageQDef(qSerialLogTime, 2, uint16_t);
  qSerialLogTimeHandle = osMessageCreate(osMessageQ(qSerialLogTime), NULL);

  /* Create the thread(s) */
  /* definition and creation of robotOutTask */
  osThreadStaticDef(robotOutTask, RobotOutTask, osPriorityNormal, 0, 1024, robotOutTaskBuffer, &robotOutTaskControlBlock);
  robotOutTaskHandle = osThreadCreate(osThread(robotOutTask), NULL);

  /* definition and creation of serialCmdTask */
  osThreadStaticDef(serialCmdTask, SerialCmdTask, osPriorityLow, 0, 512, serialCmdTaskBuffer, &serialCmdTaskControlBlock);
  serialCmdTaskHandle = osThreadCreate(osThread(serialCmdTask), NULL);

  /* definition and creation of serialLogoutTas */
  osThreadStaticDef(serialLogoutTas, SerialLogoutTask, osPriorityIdle, 0, 512, serialLogoutTasBuffer, &serialLogoutTasControlBlock);
  serialLogoutTasHandle = osThreadCreate(osThread(serialLogoutTas), NULL);

}

__weak void RobotOutTask(void const * argument)
{
  /* USER CODE BEGIN RobotOutTask */
  /* Infinite loop */
  for(;;)
  {
    HAL_GPIO_TogglePin(LD_R_GPIO_Port, LD_R_Pin);
    osDelay(400);
  }
  /* USER CODE END RobotOutTask */
}

__weak void SerialCmdTask(void const * argument)
{
  /* USER CODE BEGIN SerialCmdTask */
  /* Infinite loop */
  for(;;)
  {
    HAL_GPIO_TogglePin(LD_Y_GPIO_Port, LD_Y_Pin);
    osDelay(300);
  }
  /* USER CODE END SerialCmdTask */
}

__weak void SerialLogoutTask(void const * argument)
{
  for(;;)
  {
    osDelay(1);
  }
}
